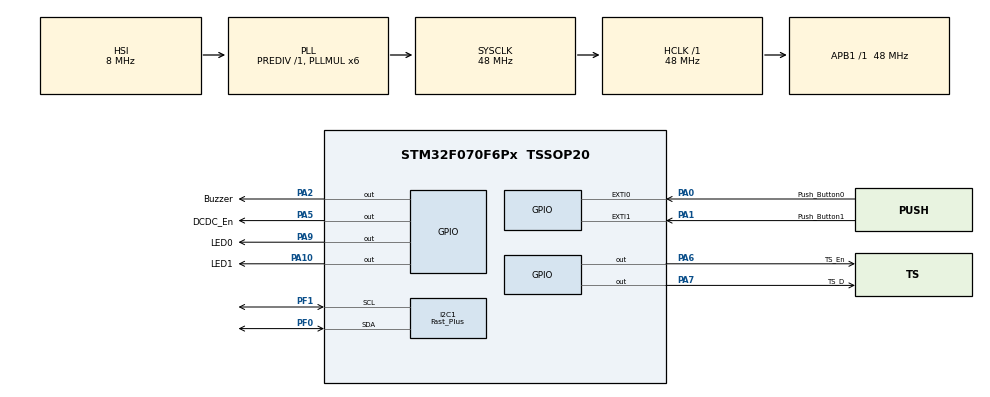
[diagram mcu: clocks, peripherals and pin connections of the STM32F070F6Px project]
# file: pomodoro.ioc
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I2C1.I2C_Fall_Time=10
I2C1.I2C_Rise_Time=10
I2C1.I2C_Speed_Mode=I2C_Fast_Plus
I2C1.Timing=0x00000001
Mcu.Family=STM32F0
Mcu.Name=STM32F070F6Px
Mcu.Package=TSSOP20
NVIC.EXTI0_1_IRQn=true\:0\:0\:false\:false\:true\:true\:true
PA0.GPIO_Label=Push_Button0
PA0.GPIO_ModeDefaultEXTI=GPIO_MODE_IT_FALLING
PA0.GPIO_PuPd=GPIO_PULLUP
PA0.Signal=GPXTI0
PA1.GPIO_Label=Push_Button1
PA1.GPIO_ModeDefaultEXTI=GPIO_MODE_IT_FALLING
PA1.GPIO_PuPd=GPIO_PULLUP
PA1.Signal=GPXTI1
PA10.GPIO_Label=LED1
PA10.Signal=GPIO_Output
PA13.Mode=Serial_Wire
PA13.Signal=SYS_SWDIO
PA14.Mode=Serial_Wire
PA14.Signal=SYS_SWCLK
PA2.GPIO_Label=Buzzer
PA2.Signal=GPIO_Output
PA5.GPIO_Label=DCDC_En
PA5.Signal=GPIO_Output
PA6.GPIO_Label=TS_En
PA6.Signal=GPIO_Output
PA7.GPIO_Label=TS_D
PA7.Signal=GPIO_Output
PA9.GPIO_Label=LED0
PA9.Signal=GPIO_Output
PF0-OSC_IN.GPIO_PuPdOD=GPIO_PULLUP
PF0-OSC_IN.Mode=I2C
PF0-OSC_IN.Signal=I2C1_SDA
PF1-OSC_OUT.Mode=I2C
PF1-OSC_OUT.Signal=I2C1_SCL
ProjectManager.HeapSize=0x200
ProjectManager.StackSize=0x400
ProjectManager.TargetToolchain=Makefile
RCC.AHBFreq_Value=48000000
RCC.APB1Freq_Value=48000000
RCC.APB1TimFreq_Value=48000000
RCC.HCLKFreq_Value=48000000
RCC.PLLMUL=RCC_PLL_MUL6
RCC.SYSCLKFreq_VALUE=48000000
RCC.SYSCLKSource=RCC_SYSCLKSOURCE_PLLCLK
board=custom

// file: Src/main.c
/* USER CODE BEGIN Header */
/**
  ******************************************************************************
  * @file           : main.c
  * @brief          : Main program body
  ******************************************************************************
  * @attention
  *
  * <h2><center>&copy; Copyright (c) 2019 STMicroelectronics.
  * All rights reserved.</center></h2>
  *
  * This software component is licensed by ST under BSD 3-Clause license,
  * the "License"; You may not use this file except in compliance with the
  * License. You may obtain a copy of the License at:
  *                        opensource.org/licenses/BSD-3-Clause
  *
  ******************************************************************************
  */
/* USER CODE END Header */

#include "main.h"

I2C_HandleTypeDef hi2c1;

void SystemClock_Config(void);
static void MX_GPIO_Init(void);
static void MX_I2C1_Init(void);

int main(void)
{

  /* MCU Configuration--------------------------------------------------------*/

  /* Reset of all peripherals, Initializes the Flash interface and the Systick. */
  HAL_Init();

  /* Configure the system clock */
  SystemClock_Config();

  /* Initialize all configured peripherals */
  MX_GPIO_Init();
  MX_I2C1_Init();

  /* Infinite loop */
  /* USER CODE BEGIN WHILE */
  uint8_t data[2];
  // Scan limit
  data[0] = 0x0B;
  data[1] = 0x07;
  HAL_I2C_Master_Transmit(&hi2c1, 0x0, data, 2, HAL_MAX_DELAY);

  data[0] = 0x0F;
  data[1] = 0x04;
  HAL_I2C_Master_Transmit(&hi2c1, 0x0, data, 2, HAL_MAX_DELAY);

    volatile uint8_t comparison = 0;
    uint8_t output = 0;
    while ((comparison | (1 << 4)) == 0)
    {
        data[0] = 0x0F;
        HAL_I2C_Master_Transmit(&hi2c1, 0x0, data, 1, HAL_MAX_DELAY);
        HAL_I2C_Master_Receive(&hi2c1, 0x0, &output, 1, HAL_MAX_DELAY);
        comparison = output;
    }

    data[0] = 0x14;
    HAL_I2C_Master_Transmit(&hi2c1, 0x0, data, 1, HAL_MAX_DELAY);
    HAL_I2C_Master_Receive(&hi2c1, 0x0, &output, 1, HAL_MAX_DELAY);
    data[0] = 0x15;
    HAL_I2C_Master_Transmit(&hi2c1, 0x0, data, 1, HAL_MAX_DELAY);
    HAL_I2C_Master_Receive(&hi2c1, 0x0, &output, 1, HAL_MAX_DELAY);
    data[0] = 0x16;
    HAL_I2C_Master_Transmit(&hi2c1, 0x0, data, 1, HAL_MAX_DELAY);
    HAL_I2C_Master_Receive(&hi2c1, 0x0, &output, 1, HAL_MAX_DELAY);
    data[0] = 0x17;
    HAL_I2C_Master_Transmit(&hi2c1, 0x0, data, 1, HAL_MAX_DELAY);
    HAL_I2C_Master_Receive(&hi2c1, 0x0, &output, 1, HAL_MAX_DELAY);
  while (1)
  {
    /* USER CODE END WHILE */

    /* USER CODE BEGIN 3 */
    HAL_GPIO_TogglePin(LED0_GPIO_Port, LED0_Pin);
    HAL_GPIO_TogglePin(LED1_GPIO_Port, LED1_Pin);
    // HAL_GPIO_TogglePin(Buzzer_GPIO_Port, Buzzer_Pin);

    HAL_Delay(100);
  }
  /* USER CODE END 3 */
}

void SystemClock_Config(void)
{
  RCC_OscInitTypeDef RCC_OscInitStruct = {0};
  RCC_ClkInitTypeDef RCC_ClkInitStruct = {0};
  RCC_PeriphCLKInitTypeDef PeriphClkInit = {0};

  /** Initializes the CPU, AHB and APB busses clocks
  */
  RCC_OscInitStruct.OscillatorType = RCC_OSCILLATORTYPE_HSI;
  RCC_OscInitStruct.HSIState = RCC_HSI_ON;
  RCC_OscInitStruct.HSICalibrationValue = RCC_HSICALIBRATION_DEFAULT;
  RCC_OscInitStruct.PLL.PLLState = RCC_PLL_ON;
  RCC_OscInitStruct.PLL.PLLSource = RCC_PLLSOURCE_HSI;
  RCC_OscInitStruct.PLL.PLLMUL = RCC_PLL_MUL6;
  RCC_OscInitStruct.PLL.PREDIV = RCC_PREDIV_DIV1;
  if (HAL_RCC_OscConfig(&RCC_OscInitStruct) != HAL_OK)
  {
    Error_Handler();
  }
  /** Initializes the CPU, AHB and APB busses clocks
  */
  RCC_ClkInitStruct.ClockType = RCC_CLOCKTYPE_HCLK|RCC_CLOCKTYPE_SYSCLK
                              |RCC_CLOCKTYPE_PCLK1;
  RCC_ClkInitStruct.SYSCLKSource = RCC_SYSCLKSOURCE_PLLCLK;
  RCC_ClkInitStruct.AHBCLKDivider = RCC_SYSCLK_DIV1;
  RCC_ClkInitStruct.APB1CLKDivider = RCC_HCLK_DIV1;

  if (HAL_RCC_ClockConfig(&RCC_ClkInitStruct, FLASH_LATENCY_1) != HAL_OK)
  {
    Error_Handler();
  }
  PeriphClkInit.PeriphClockSelection = RCC_PERIPHCLK_I2C1;
  PeriphClkInit.I2c1ClockSelection = RCC_I2C1CLKSOURCE_HSI;
  if (HAL_RCCEx_PeriphCLKConfig(&PeriphClkInit) != HAL_OK)
  {
    Error_Handler();
  }
}

static void MX_I2C1_Init(void)
{

  hi2c1.Instance = I2C1;
  hi2c1.Init.Timing = 0x00000001;
  hi2c1.Init.OwnAddress1 = 0;
  hi2c1.Init.AddressingMode = I2C_ADDRESSINGMODE_7BIT;
  hi2c1.Init.DualAddressMode = I2C_DUALADDRESS_DISABLE;
  hi2c1.Init.OwnAddress2 = 0;
  hi2c1.Init.OwnAddress2Masks = I2C_OA2_NOMASK;
  hi2c1.Init.GeneralCallMode = I2C_GENERALCALL_DISABLE;
  hi2c1.Init.NoStretchMode = I2C_NOSTRETCH_DISABLE;
  if (HAL_I2C_Init(&hi2c1) != HAL_OK)
  {
    Error_Handler();
  }
  /** Configure Analogue filter
  */
  if (HAL_I2CEx_ConfigAnalogFilter(&hi2c1, I2C_ANALOGFILTER_ENABLE) != HAL_OK)
  {
    Error_Handler();
  }
  /** Configure Digital filter
  */
  if (HAL_I2CEx_ConfigDigitalFilter(&hi2c1, 0) != HAL_OK)
  {
    Error_Handler();
  }
  /** I2C Fast mode Plus enable
  */
  __HAL_SYSCFG_FASTMODEPLUS_ENABLE(I2C_FASTMODEPLUS_I2C1);

}

static void MX_GPIO_Init(void)
{
  GPIO_InitTypeDef GPIO_InitStruct = {0};

  /* GPIO Ports Clock Enable */
  __HAL_RCC_GPIOF_CLK_ENABLE();
  __HAL_RCC_GPIOA_CLK_ENABLE();

  /*Configure GPIO pin Output Level */
  HAL_GPIO_WritePin(GPIOA, Buzzer_Pin|DCDC_En_Pin|TS_En_Pin|TS_D_Pin
                          |LED0_Pin|LED1_Pin, GPIO_PIN_RESET);

  /*Configure GPIO pins : Push_Button0_Pin Push_Button1_Pin */
  GPIO_InitStruct.Pin = Push_Button0_Pin|Push_Button1_Pin;
  GPIO_InitStruct.Mode = GPIO_MODE_IT_FALLING;
  GPIO_InitStruct.Pull = GPIO_PULLUP;
  HAL_GPIO_Init(GPIOA, &GPIO_InitStruct);

  /*Configure GPIO pins : Buzzer_Pin DCDC_En_Pin TS_En_Pin TS_D_Pin
                           LED0_Pin LED1_Pin */
  GPIO_InitStruct.Pin = Buzzer_Pin|DCDC_En_Pin|TS_En_Pin|TS_D_Pin
                          |LED0_Pin|LED1_Pin;
  GPIO_InitStruct.Mode = GPIO_MODE_OUTPUT_PP;
  GPIO_InitStruct.Pull = GPIO_NOPULL;
  GPIO_InitStruct.Speed = GPIO_SPEED_FREQ_LOW;
  HAL_GPIO_Init(GPIOA, &GPIO_InitStruct);

  /* EXTI interrupt init*/
  HAL_NVIC_SetPriority(EXTI0_1_IRQn, 0, 0);
  HAL_NVIC_EnableIRQ(EXTI0_1_IRQn);

}

void Error_Handler(void)
{
}

/************************ (C) COPYRIGHT STMicroelectronics *****END OF FILE****/
